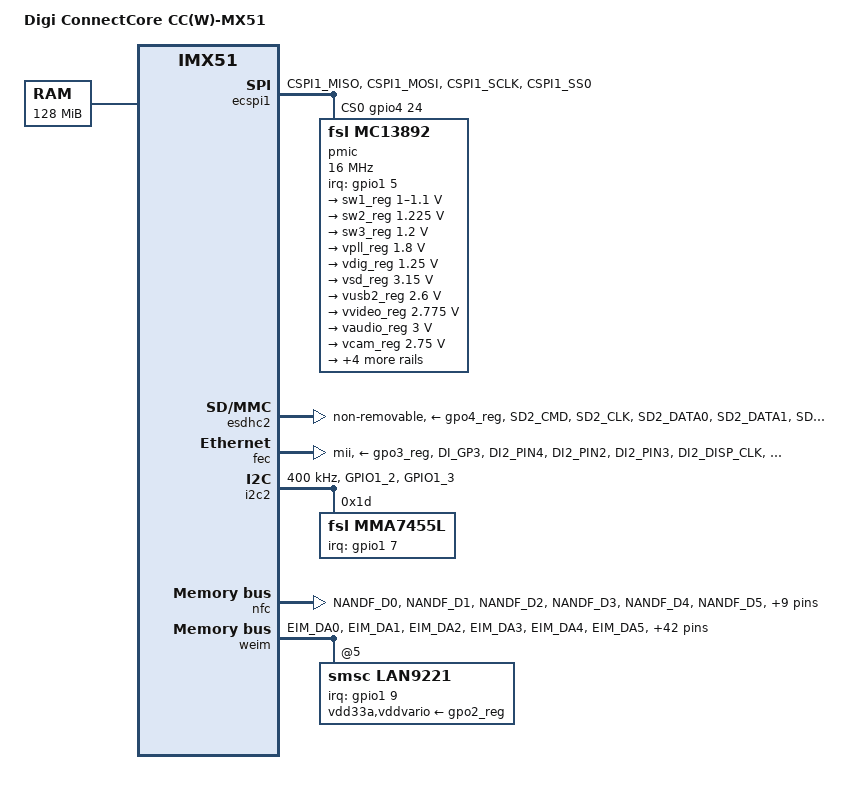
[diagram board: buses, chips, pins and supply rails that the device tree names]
/*
 * Copyright (C) 2014 Alexander Shiyan <shc_work@mail.ru>
 *
 * The code contained herein is licensed under the GNU General Public
 * License. You may obtain a copy of the GNU General Public License
 * Version 2 or later at the following locations:
 *
 * http://www.opensource.org/licenses/gpl-license.html
 * http://www.gnu.org/copyleft/gpl.html
 */

/dts-v1/;
#include "imx51.dtsi"

/ {
	model = "Digi ConnectCore CC(W)-MX51";
	compatible = "digi,connectcore-ccxmx51-som", "fsl,imx51";

	memory@90000000 {
		device_type = "memory";
		reg = <0x90000000 0x08000000>;
	};
};

&ecspi1 {
	pinctrl-names = "default";
	pinctrl-0 = <&pinctrl_ecspi1>;
	cs-gpios = <&gpio4 24 GPIO_ACTIVE_HIGH>;
	status = "okay";

	pmic: mc13892@0 {
		pinctrl-names = "default";
		pinctrl-0 = <&pinctrl_mc13892>;
		compatible = "fsl,mc13892";
		spi-max-frequency = <16000000>;
		spi-cs-high;
		reg = <0>;
		interrupt-parent = <&gpio1>;
		interrupts = <5 IRQ_TYPE_LEVEL_HIGH>;
		fsl,mc13xxx-uses-rtc;

		regulators {
			sw1_reg: sw1 {
				regulator-min-microvolt = <1000000>;
				regulator-max-microvolt = <1100000>;
				regulator-boot-on;
				regulator-always-on;
			};

			sw2_reg: sw2 {
				regulator-min-microvolt = <1225000>;
				regulator-max-microvolt = <1225000>;
				regulator-boot-on;
				regulator-always-on;
			};

			sw3_reg: sw3 {
				regulator-min-microvolt = <1200000>;
				regulator-max-microvolt = <1200000>;
				regulator-boot-on;
				regulator-always-on;
			};

			swbst_reg: swbst { };

			viohi_reg: viohi {
				regulator-always-on;
			};

			vpll_reg: vpll {
				regulator-min-microvolt = <1800000>;
				regulator-max-microvolt = <1800000>;
				regulator-always-on;
			};

			vdig_reg: vdig {
				regulator-min-microvolt = <1250000>;
				regulator-max-microvolt = <1250000>;
				regulator-always-on;
			};

			vsd_reg: vsd {
				regulator-min-microvolt = <3150000>;
				regulator-max-microvolt = <3150000>;
				regulator-always-on;
			};

			vusb2_reg: vusb2 {
				regulator-min-microvolt = <2600000>;
				regulator-max-microvolt = <2600000>;
				regulator-always-on;
			};

			vvideo_reg: vvideo {
				regulator-min-microvolt = <2775000>;
				regulator-max-microvolt = <2775000>;
				regulator-always-on;
			};

			vaudio_reg: vaudio {
				regulator-min-microvolt = <3000000>;
				regulator-max-microvolt = <3000000>;
				regulator-always-on;
			};

			vcam_reg: vcam {
				regulator-min-microvolt = <2750000>;
				regulator-max-microvolt = <2750000>;
				regulator-always-on;
			};

			vgen1_reg: vgen1 {
				regulator-min-microvolt = <1200000>;
				regulator-max-microvolt = <1200000>;
				regulator-always-on;
			};

			vgen2_reg: vgen2 {
				regulator-min-microvolt = <3150000>;
				regulator-max-microvolt = <3150000>;
				regulator-always-on;
			};

			vgen3_reg: vgen3 {
				regulator-min-microvolt = <1800000>;
				regulator-max-microvolt = <1800000>;
				regulator-always-on;
			};

			vusb_reg: vusb {
				regulator-always-on;
			};

			gpo1_reg: gpo1 { };

			gpo2_reg: gpo2 { };

			gpo3_reg: gpo3 { };

			gpo4_reg: gpo4 { };

			pwgt2spi_reg: pwgt2spi {
				regulator-always-on;
			};

			vcoincell_reg: vcoincell {
				regulator-min-microvolt = <3000000>;
				regulator-max-microvolt = <3000000>;
				regulator-always-on;
			};
		};
	};
};

&esdhc2 {
	pinctrl-names = "default";
	pinctrl-0 = <&pinctrl_esdhc2>;
	cap-sdio-irq;
	wakeup-source;
	keep-power-in-suspend;
	max-frequency = <50000000>;
	no-1-8-v;
	non-removable;
	vmmc-supply = <&gpo4_reg>;
	status = "okay";
};

&fec {
	pinctrl-names = "default";
	pinctrl-0 = <&pinctrl_fec>;
	phy-mode = "mii";
	phy-supply = <&gpo3_reg>;
	/* Pins shared with LCD2, keep status disabled */
};

&i2c2 {
	pinctrl-names = "default";
	pinctrl-0 = <&pinctrl_i2c2>;
	clock-frequency = <400000>;
	status = "okay";

	mma7455l@1d {
		pinctrl-names = "default";
		pinctrl-0 = <&pinctrl_mma7455l>;
		compatible = "fsl,mma7455l";
		reg = <0x1d>;
		interrupt-parent = <&gpio1>;
		interrupts = <7 IRQ_TYPE_LEVEL_HIGH>, <6 IRQ_TYPE_LEVEL_HIGH>;
	};
};

&nfc {
	pinctrl-names = "default";
	pinctrl-0 = <&pinctrl_nfc>;
	nand-bus-width = <8>;
	nand-ecc-mode = "hw";
	nand-on-flash-bbt;
	status = "okay";
};

&usbotg {
	phy_type = "utmi_wide";
	disable-over-current;
	/* Device role is not known, keep status disabled */
};

&weim {
	pinctrl-names = "default";
	pinctrl-0 = <&pinctrl_weim>;
	status = "okay";

	lan9221: lan9221@5,0 {
		pinctrl-names = "default";
		pinctrl-0 = <&pinctrl_lan9221>;
		compatible = "smsc,lan9221", "smsc,lan9115";
		reg = <5 0x00000000 0x1000>;
		fsl,weim-cs-timing = <
			0x00420081 0x00000000
			0x32260000 0x00000000
			0x72080f00 0x00000000
		>;
		clocks = <&clks IMX5_CLK_DUMMY>;
		interrupt-parent = <&gpio1>;
		interrupts = <9 IRQ_TYPE_LEVEL_LOW>;
		phy-mode = "mii";
		reg-io-width = <2>;
		smsc,irq-push-pull;
		vdd33a-supply = <&gpo2_reg>;
		vddvario-supply = <&gpo2_reg>;
	};
};

&iomuxc {
	imx51-digi-connectcore-som {
		pinctrl_ecspi1: ecspi1grp {
			fsl,pins = <
				MX51_PAD_CSPI1_MISO__ECSPI1_MISO	0x185
				MX51_PAD_CSPI1_MOSI__ECSPI1_MOSI	0x185
				MX51_PAD_CSPI1_SCLK__ECSPI1_SCLK	0x185
				MX51_PAD_CSPI1_SS0__GPIO4_24		0x85 /* CS0 */
			>;
		};

		pinctrl_esdhc2: esdhc2grp {
			fsl,pins = <
				MX51_PAD_SD2_CMD__SD2_CMD		0x400020d5
				MX51_PAD_SD2_CLK__SD2_CLK		0x20d5
				MX51_PAD_SD2_DATA0__SD2_DATA0		0x20d5
				MX51_PAD_SD2_DATA1__SD2_DATA1		0x20d5
				MX51_PAD_SD2_DATA2__SD2_DATA2		0x20d5
				MX51_PAD_SD2_DATA3__SD2_DATA3		0x20d5
			>;
		};

		pinctrl_fec: fecgrp {
			fsl,pins = <
				MX51_PAD_DI_GP3__FEC_TX_ER		0x80000000
				MX51_PAD_DI2_PIN4__FEC_CRS		0x80000000
				MX51_PAD_DI2_PIN2__FEC_MDC		0x80000000
				MX51_PAD_DI2_PIN3__FEC_MDIO		0x80000000
				MX51_PAD_DI2_DISP_CLK__FEC_RDATA1	0x80000000
				MX51_PAD_DI_GP4__FEC_RDATA2		0x80000000
				MX51_PAD_DISP2_DAT0__FEC_RDATA3		0x80000000
				MX51_PAD_DISP2_DAT1__FEC_RX_ER		0x80000000
				MX51_PAD_DISP2_DAT6__FEC_TDATA1		0x80000000
				MX51_PAD_DISP2_DAT7__FEC_TDATA2		0x80000000
				MX51_PAD_DISP2_DAT8__FEC_TDATA3		0x80000000
				MX51_PAD_DISP2_DAT9__FEC_TX_EN		0x80000000
				MX51_PAD_DISP2_DAT10__FEC_COL		0x80000000
				MX51_PAD_DISP2_DAT11__FEC_RX_CLK	0x80000000
				MX51_PAD_DISP2_DAT12__FEC_RX_DV		0x80000000
				MX51_PAD_DISP2_DAT13__FEC_TX_CLK	0x80000000
				MX51_PAD_DISP2_DAT14__FEC_RDATA0	0x80000000
				MX51_PAD_DISP2_DAT15__FEC_TDATA0	0x80000000
			>;
		};

		pinctrl_i2c2: i2c2grp {
			fsl,pins = <
				MX51_PAD_GPIO1_2__I2C2_SCL		0x400001ed
				MX51_PAD_GPIO1_3__I2C2_SDA		0x400001ed
			>;
		};

		pinctrl_nfc: nfcgrp {
			fsl,pins = <
				MX51_PAD_NANDF_D0__NANDF_D0		0x80000000
				MX51_PAD_NANDF_D1__NANDF_D1		0x80000000
				MX51_PAD_NANDF_D2__NANDF_D2		0x80000000
				MX51_PAD_NANDF_D3__NANDF_D3		0x80000000
				MX51_PAD_NANDF_D4__NANDF_D4		0x80000000
				MX51_PAD_NANDF_D5__NANDF_D5		0x80000000
				MX51_PAD_NANDF_D6__NANDF_D6		0x80000000
				MX51_PAD_NANDF_D7__NANDF_D7		0x80000000
				MX51_PAD_NANDF_ALE__NANDF_ALE		0x80000000
				MX51_PAD_NANDF_CLE__NANDF_CLE		0x80000000
				MX51_PAD_NANDF_RE_B__NANDF_RE_B		0x80000000
				MX51_PAD_NANDF_WE_B__NANDF_WE_B		0x80000000
				MX51_PAD_NANDF_WP_B__NANDF_WP_B		0x80000000
				MX51_PAD_NANDF_CS0__NANDF_CS0		0x80000000
				MX51_PAD_NANDF_RB0__NANDF_RB0		0x80000000
			>;
		};

		pinctrl_lan9221: lan9221grp {
			fsl,pins = <
				MX51_PAD_GPIO1_9__GPIO1_9		0xe5 /* IRQ */
			>;
		};

		pinctrl_mc13892: mc13892grp {
			fsl,pins = <
				MX51_PAD_GPIO1_5__GPIO1_5		0xe5 /* IRQ */
			>;
		};

		pinctrl_mma7455l: mma7455lgrp {
			fsl,pins = <
				MX51_PAD_GPIO1_7__GPIO1_7		0xe5 /* IRQ1 */
				MX51_PAD_GPIO1_6__GPIO1_6		0xe5 /* IRQ2 */
			>;
		};

		pinctrl_weim: weimgrp {
			fsl,pins = <
				MX51_PAD_EIM_DA0__EIM_DA0		0x80000000
				MX51_PAD_EIM_DA1__EIM_DA1		0x80000000
				MX51_PAD_EIM_DA2__EIM_DA2		0x80000000
				MX51_PAD_EIM_DA3__EIM_DA3		0x80000000
				MX51_PAD_EIM_DA4__EIM_DA4		0x80000000
				MX51_PAD_EIM_DA5__EIM_DA5		0x80000000
				MX51_PAD_EIM_DA6__EIM_DA6		0x80000000
				MX51_PAD_EIM_DA7__EIM_DA7		0x80000000
				MX51_PAD_EIM_DA8__EIM_DA8		0x80000000
				MX51_PAD_EIM_DA9__EIM_DA9		0x80000000
				MX51_PAD_EIM_DA10__EIM_DA10		0x80000000
				MX51_PAD_EIM_DA11__EIM_DA11		0x80000000
				MX51_PAD_EIM_DA12__EIM_DA12		0x80000000
				MX51_PAD_EIM_DA13__EIM_DA13		0x80000000
				MX51_PAD_EIM_DA14__EIM_DA14		0x80000000
				MX51_PAD_EIM_DA15__EIM_DA15		0x80000000
				MX51_PAD_EIM_A16__EIM_A16		0x80000000
				MX51_PAD_EIM_A17__EIM_A17		0x80000000
				MX51_PAD_EIM_A18__EIM_A18		0x80000000
				MX51_PAD_EIM_A19__EIM_A19		0x80000000
				MX51_PAD_EIM_A20__EIM_A20		0x80000000
				MX51_PAD_EIM_A21__EIM_A21		0x80000000
				MX51_PAD_EIM_A22__EIM_A22		0x80000000
				MX51_PAD_EIM_A23__EIM_A23		0x80000000
				MX51_PAD_EIM_A24__EIM_A24		0x80000000
				MX51_PAD_EIM_A25__EIM_A25		0x80000000
				MX51_PAD_EIM_A26__EIM_A26		0x80000000
				MX51_PAD_EIM_A27__EIM_A27		0x80000000
				MX51_PAD_EIM_D16__EIM_D16		0x80000000
				MX51_PAD_EIM_D17__EIM_D17		0x80000000
				MX51_PAD_EIM_D18__EIM_D18		0x80000000
				MX51_PAD_EIM_D19__EIM_D19		0x80000000
				MX51_PAD_EIM_D20__EIM_D20		0x80000000
				MX51_PAD_EIM_D21__EIM_D21		0x80000000
				MX51_PAD_EIM_D22__EIM_D22		0x80000000
				MX51_PAD_EIM_D23__EIM_D23		0x80000000
				MX51_PAD_EIM_D24__EIM_D24		0x80000000
				MX51_PAD_EIM_D25__EIM_D25		0x80000000
				MX51_PAD_EIM_D26__EIM_D26		0x80000000
				MX51_PAD_EIM_D27__EIM_D27		0x80000000
				MX51_PAD_EIM_D28__EIM_D28		0x80000000
				MX51_PAD_EIM_D29__EIM_D29		0x80000000
				MX51_PAD_EIM_D30__EIM_D30		0x80000000
				MX51_PAD_EIM_D31__EIM_D31		0x80000000
				MX51_PAD_EIM_OE__EIM_OE			0x80000000
				MX51_PAD_EIM_DTACK__EIM_DTACK		0x80000000
				MX51_PAD_EIM_LBA__EIM_LBA		0x80000000
				MX51_PAD_EIM_CS5__EIM_CS5		0x80000000 /* CS5 */
			>;
		};
	};
};
